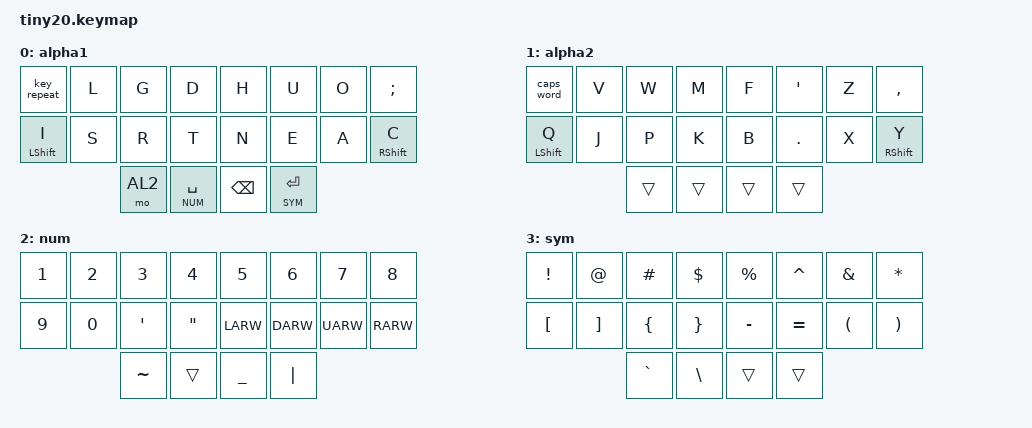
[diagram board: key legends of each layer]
/*
 * Copyright (c) 2020 The ZMK Contributors
 *
 * SPDX-License-Identifier: MIT
 */

#include <behaviors.dtsi>
#include <dt-bindings/zmk/keys.h>
#include <dt-bindings/zmk/bt.h>
#include <dt-bindings/zmk/outputs.h>

/* Layers */
#define AL1 0
#define AL2 1
#define NUM 2
# define SYM 3

/ {
    //  0   1   2   3       4   5   6   7
    //  8   9   10  11      12  13  14  15
    //          16  17      18  19

combos {
        compatible = "zmk,combos";
        combo_esc {
            timeout-ms = <30>;
            key-positions = <16 17>;
            bindings = <&kp ESC>;
        };
    };

    behaviors {
        bhm: balanced_homerow_mods {
            compatible = "zmk,behavior-hold-tap";
            label = "BALANCE_HOMEROW_MODS";
            #binding-cells = <2>;
            tapping-term-ms = <250>;
            quick-tap-ms = <0>;
            flavor = "balanced";
            bindings = <&kp>, <&kp>;
        };
        hl_l: homerow_layers_left {
            compatible = "zmk,behavior-hold-tap";
            label = "HOMEROW_LAYERS_L";
            #binding-cells = <2>;
            tapping-term-ms = <220>;
            quick-tap-ms = <250>;
            flavor = "tap-preferred";
            bindings = <&mo>, <&kp>;
        };
    };

    keymap {
        compatible = "zmk,keymap";

        alpha1 {
            bindings = <
                &key_repeat	&kp L	&kp G	&kp D                 	&kp H	&kp U     &kp O     &kp SEMI
                &bhm LSHIFT I	&kp S	&kp R	&kp T                  	&kp N	&kp E    &kp A      &bhm RSHIFT C
                                &mo AL2	&lt NUM SPACE		&kp BSPC	&lt SYM ENTER
            >;
        };
       	
        alpha2 {
		    bindings = <
		&caps_word	&kp V	&kp W	&kp M            	&kp F	&kp SQT		&kp Z		&kp COMMA
                &bhm LSHIFT Q	&kp J	&kp P	&kp K			&kp B	&kp DOT		&kp X       &bhm RSHIFT Y
                                &trans             &trans      &trans      &trans
		    >;
	};

	num {
		    bindings = <
		 &kp N1 	&kp N2       &kp N3               &kp N4            &kp N5        &kp N6         &kp N7 	&kp N8
                &kp N9       &kp N0              &kp SQT     &kp DQT               &kp LARW    &kp DARW    &kp UARW    &kp RARW
                                &kp TILDE         &trans          		&kp UNDERSCORE      &kp PIPE
		    >;
	};

	sym {
		    bindings = <
		&kp EXCL     &kp AT       &kp HASH    &kp DLLR    		&kp PRCNT      &kp CARET    &kp AMPS     &kp ASTRK
                &kp LBKT     &kp RBKT     &kp LBRC     &kp RBRC        		&kp MINUS    &kp EQUAL    &kp LPAR     &kp RPAR
                                &kp GRAVE         &kp BACKSLASH          	&trans      &trans
		    >;
	};
    };
};
